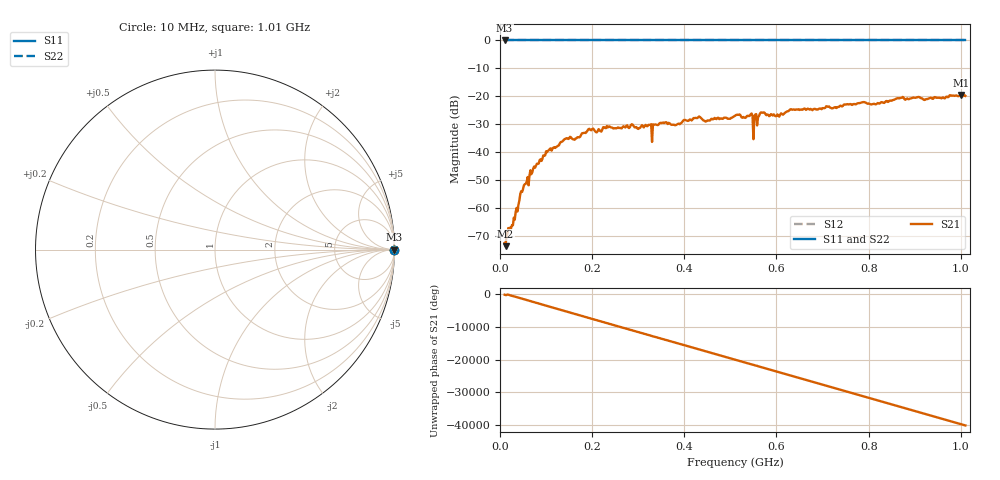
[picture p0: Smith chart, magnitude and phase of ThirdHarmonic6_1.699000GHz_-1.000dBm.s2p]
! 8/16/2025 8:25:17 PM
! C:\ANRITSUVNA\TEMP\TEMP.S2P
! CHANNEL.1
! TR.MEASUREMENT
! RAW.DATA
! RF.CORRECTION.OFF
! AVERAGING.OFF
! IF.BANDWIDTH: 5KHZ
! SWEEPTYPE:  FREQ.SWEEP(Linear)
! Reference Plane Port Info
! PORT:  PORT1  PORT2
! DISTANCE:  0  m  0  m
! TIME:  0  s  0  s
! PHASE.OFFSET:  0  deg.  0  deg.
! LOSS:  0  dB  0  dB
! REF.LOSS:  0  dB  0  dB
! REF.FREQ:  0  Hz  0  Hz
! Power Info
! POWER:  -20  dBm  -20  dBm
! EFF.POWER:  -20  dBm  -20  dBm
! SOURCE.ATTEN:  0  dB  0  dB
! TEST.ATTEN:  0  dB  0  dB
# GHZ S RI R 50.0
! FREQ.GHZ  S11RE  S11IM  S21RE  S21IM  S12RE  S12IM  S22RE  S22IM
!; PortSelection: Port_12
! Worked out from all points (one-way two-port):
!   501 points, 10 MHz to 1.01 GHz, reference 50 ohm
!   highest |S21| = -19.55 dB at 1 GHz (marker M1); lowest = -73.8 dB at 12 MHz (marker M2)
!   lowest |S11| = 0.0 dB at 10 MHz (marker M3)
!   |S11| at or under -10 dB: nowhere
!   |S22| runs from 0.0 to 0.0 dB; largest |S21 - S12| = 1.1
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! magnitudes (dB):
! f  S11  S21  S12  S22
! 10 MHz  0.0  -72.7  0.0  0.0
! 12 MHz  0.0  -73.8  0.0  0.0
! 28 MHz  0.0  -66.3  0.0  0.0
! 48 MHz  0.0  -54.3  0.0  0.0
! 76 MHz  0.0  -45.7  0.0  0.0
! 104 MHz  0.0  -39.6  0.0  0.0
! 142 MHz  0.0  -35.3  0.0  0.0
! 178 MHz  0.0  -33.3  0.0  0.0
! 236 MHz  0.0  -30.9  0.0  0.0
! 334 MHz  0.0  -30.2  0.0  0.0
! 344 MHz  0.0  -30.2  0.0  0.0
! 510 MHz  0.0  -27.0  0.0  0.0
! 544 MHz  0.0  -26.5  0.0  0.0
! 546 MHz  0.0  -26.2  0.0  0.0
! 554 MHz  0.0  -26.6  0.0  0.0
! 570 MHz  0.0  -25.9  0.0  0.0
! 602 MHz  0.0  -26.5  0.0  0.0
! 632 MHz  0.0  -24.7  0.0  0.0
! 678 MHz  0.0  -25.0  0.0  0.0
! 844 MHz  0.0  -21.8  0.0  0.0
! 1 GHz  0.0  -19.5  0.0  0.0
! 1.01 GHz  0.0  -19.9  0.0  0.0
